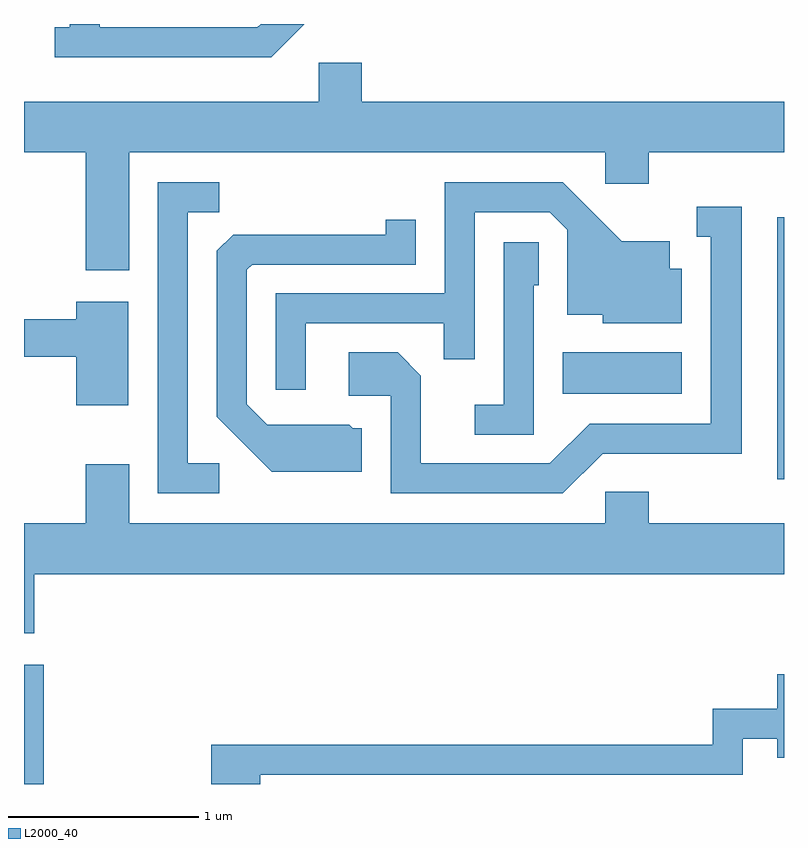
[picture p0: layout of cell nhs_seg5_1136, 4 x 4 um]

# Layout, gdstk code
import gdstk
lib = gdstk.Library(unit=1e-6, precision=1e-09)
def R(c, l, rs):  # rectangles x0, y0, x1, y1
    for r in rs: c.add(gdstk.rectangle(r[:2], r[2:], *l))
def P(c, l, *ps):  # polygons
    for p in ps: c.add(gdstk.Polygon(p, *l))
L2000_40 = (2000, 40)

nhs_seg5_1136 = lib.new_cell('nhs_seg5_1136')
R(nhs_seg5_1136, L2000_40, [(217.611,1520.072,217.714,1520.699), (221.576,1521.676,221.611,1523.054), (220.446,1522.126,221.074,1522.344)])
P(nhs_seg5_1136, L2000_40, [(219.087,1524.072),(218.857,1524.072),(218.839,1524.054),(218.009,1524.054),(218.009,1524.072),(217.851,1524.072),(217.851,1524.054),(217.773,1524.054),(217.773,1523.896),(218.912,1523.896)],
  [(218.164,1523.396),(220.671,1523.396),(220.671,1523.231),(220.899,1523.231),(220.899,1523.396),(221.611,1523.396),(221.611,1523.664),(219.389,1523.664),(219.389,1523.869),(219.161,1523.869),(219.161,1523.664),(217.611,1523.664),(217.611,1523.396),(217.936,1523.396),(217.936,1522.776),(218.164,1522.776)],
  [(218.638,1521.759),(218.474,1521.759),(218.474,1523.081),(218.638,1523.081),(218.638,1523.239),(218.316,1523.239),(218.316,1521.601),(218.638,1521.601)],
  [(219.094,1522.496),(219.821,1522.496),(219.821,1522.308),(219.984,1522.308),(219.984,1523.081),(220.379,1523.081),(220.471,1522.989),(220.471,1522.541),(220.656,1522.541),(220.656,1522.496),(221.074,1522.496),(221.074,1522.784),(221.009,1522.784),(221.009,1522.929),(220.757,1522.929),(220.447,1523.239),(219.826,1523.239),(219.826,1522.654),(218.936,1522.654),(218.936,1522.148),(219.094,1522.148)],
  [(220.657,1521.811),(221.389,1521.811),(221.389,1523.109),(221.153,1523.109),(221.153,1522.951),(221.226,1522.951),(221.226,1521.969),(220.589,1521.969),(220.379,1521.759),(219.699,1521.759),(219.699,1522.222),(219.577,1522.344),(219.321,1522.344),(219.321,1522.116),(219.541,1522.116),(219.541,1521.601),(220.447,1521.601)],
  [(219.389,1521.944),(219.342,1521.944),(219.322,1521.964),(218.892,1521.964),(218.784,1522.072),(218.784,1522.779),(218.812,1522.806),(219.674,1522.806),(219.674,1523.043),(219.516,1523.043),(219.516,1522.964),(218.712,1522.964),(218.626,1522.879),(218.626,1522.004),(218.914,1521.716),(219.389,1521.716)],
  [(220.294,1522.696),(220.319,1522.696),(220.319,1522.924),(220.136,1522.924),(220.136,1522.069),(219.983,1522.069),(219.983,1521.911),(220.294,1521.911)],
  [(218.159,1522.609),(217.886,1522.609),(217.886,1522.519),(217.611,1522.519),(217.611,1522.321),(217.886,1522.321),(217.886,1522.066),(218.159,1522.066)],
  [(217.664,1521.176),(221.611,1521.176),(221.611,1521.444),(220.899,1521.444),(220.899,1521.609),(220.671,1521.609),(220.671,1521.444),(218.164,1521.444),(218.164,1521.754),(217.936,1521.754),(217.936,1521.444),(217.611,1521.444),(217.611,1520.866),(217.664,1520.866)],
  [(218.854,1520.121),(221.394,1520.121),(221.394,1520.311),(221.576,1520.311),(221.576,1520.211),(221.611,1520.211),(221.611,1520.649),(221.576,1520.649),(221.576,1520.469),(221.236,1520.469),(221.236,1520.279),(218.596,1520.279),(218.596,1520.072),(218.854,1520.072)])

lib.write_gds('nhs_seg5_1136.gds')
